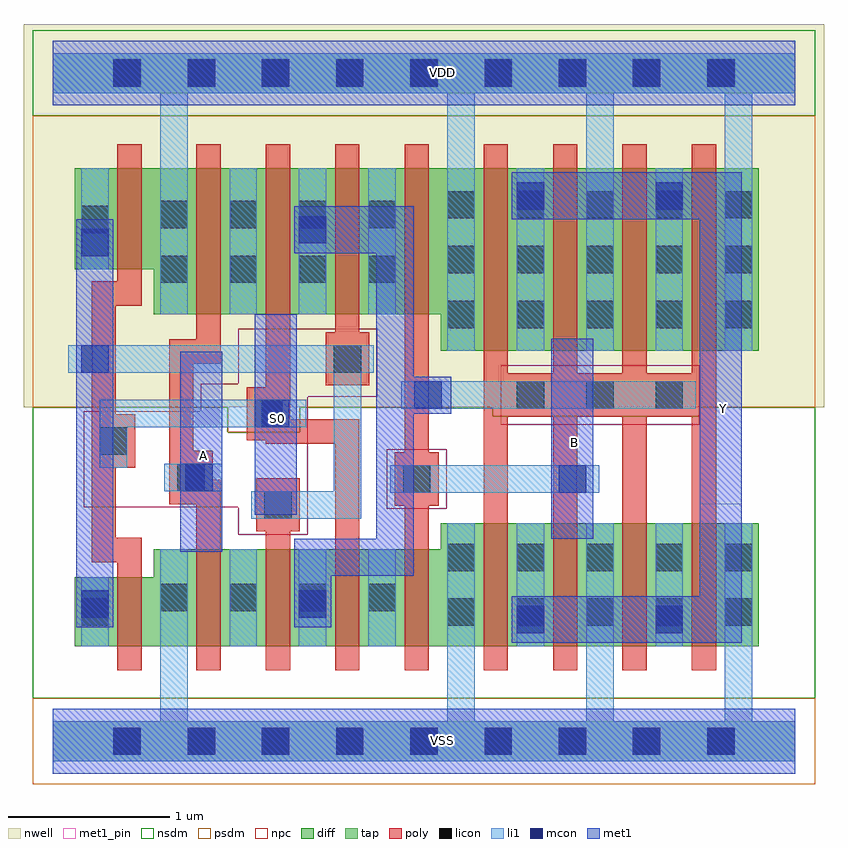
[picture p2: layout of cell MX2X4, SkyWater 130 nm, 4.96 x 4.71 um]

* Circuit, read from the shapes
.subckt MX2X4 A B S0 VDD VSS Y
XM1 VSS S0 n1 VSS sky130_fd_pr__nfet_01v8 w=0.425 l=0.15
XM2 n2 A VSS VSS sky130_fd_pr__nfet_01v8 w=0.6 l=0.15
XM3 n3 n1 n2 VSS sky130_fd_pr__nfet_01v8 w=0.6 l=0.15
XM4 n4 S0 n3 VSS sky130_fd_pr__nfet_01v8 w=0.6 l=0.15
XM5 VSS B n4 VSS sky130_fd_pr__nfet_01v8 w=0.6 l=0.15
XM6 Y n3 VSS VSS sky130_fd_pr__nfet_01v8 w=0.76 l=0.15 m=4
XM7 VDD S0 n1 VDD sky130_fd_pr__pfet_01v8 w=0.625 l=0.15
XM8 n5 A VDD VDD sky130_fd_pr__pfet_01v8 w=0.905 l=0.15
XM9 n3 S0 n5 VDD sky130_fd_pr__pfet_01v8 w=0.905 l=0.15
XM10 n6 n1 n3 VDD sky130_fd_pr__pfet_01v8 w=0.905 l=0.15
XM11 VDD B n6 VDD sky130_fd_pr__pfet_01v8 w=0.905 l=0.15
XM12 Y n3 VDD VDD sky130_fd_pr__pfet_01v8 w=1.13 l=0.15 m=4
.ends

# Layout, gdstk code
from math import pi, radians
import gdstk
lib = gdstk.Library(unit=1e-6, precision=1e-09)
def R(c, l, rs):  # rectangles x0, y0, x1, y1
    for r in rs: c.add(gdstk.rectangle(r[:2], r[2:], *l))
def A(c, l, x, y, w, h, nx, ny, dx, dy):  # array of equal rectangles
    R(c, l, [(x+i*dx, y+j*dy, x+i*dx+w, y+j*dy+h) for i in range(nx) for j in range(ny)])
def P(c, l, *ps):  # polygons
    for p in ps: c.add(gdstk.Polygon(p, *l))
nwell = (64, 20)
diff = (65, 20)
tap = (65, 44)
poly = (66, 20)
licon = (66, 44)
li1 = (67, 20)
mcon = (67, 44)
met1_pin = (68, 16)
met1 = (68, 20)
nsdm = (93, 44)
psdm = (94, 20)
npc = (95, 20)

pfet_01v8_cdns_716492285 = lib.new_cell('pfet_01v8_CDNS_71649228522173')
R(pfet_01v8_cdns_716492285, nwell, [(-0.235,-0.18,0.555,1.085)])
R(pfet_01v8_cdns_716492285, diff, [(-0.055,0,0,0.905), (0,0,0.15,0.905), (0.15,0,0.375,0.905)])
R(pfet_01v8_cdns_716492285, poly, [(0,-0.15,0.15,-0.095), (0,-0.095,0.15,0), (0,0,0.15,0.905), (0,0.905,0.15,1), (0,1,0.15,1.055)])
R(pfet_01v8_cdns_716492285, licon, [(0.205,0.195,0.375,0.365), (0.205,0.535,0.375,0.705)])
R(pfet_01v8_cdns_716492285, li1, [(0.205,0,0.375,0.905)])
R(pfet_01v8_cdns_716492285, psdm, [(-0.065,-0.13,0.385,1.035)])

nfet_01v8_cdns_716492285 = lib.new_cell('nfet_01v8_CDNS_71649228522174')
R(nfet_01v8_cdns_716492285, diff, [(-0.075,0,0,0.6), (0,0,0.15,0.6), (0.15,0,0.205,0.6)])
R(nfet_01v8_cdns_716492285, poly, [(0,-0.15,0.15,-0.095), (0,-0.095,0.15,0), (0,0,0.15,0.6), (0,0.6,0.15,0.695), (0,0.695,0.15,0.75)])
R(nfet_01v8_cdns_716492285, nsdm, [(0.045,-0.13,0.215,0.73)])

c_pfet_01v8_cdns_716492285 = lib.new_cell('pfet_01v8_CDNS_71649228522175')
R(c_pfet_01v8_cdns_716492285, nwell, [(-0.405,-0.18,0.385,1.085)])
R(c_pfet_01v8_cdns_716492285, diff, [(-0.225,0,0,0.905), (0,0,0.15,0.905), (0.15,0,0.205,0.905)])
R(c_pfet_01v8_cdns_716492285, poly, [(0,-0.15,0.15,-0.095), (0,-0.095,0.15,0), (0,0,0.15,0.905), (0,0.905,0.15,1), (0,1,0.15,1.055)])
R(c_pfet_01v8_cdns_716492285, psdm, [(-0.235,-0.13,0.215,1.035)])

c_nfet_01v8_cdns_716492285 = lib.new_cell('nfet_01v8_CDNS_71649228522176')
R(c_nfet_01v8_cdns_716492285, diff, [(-0.265,0,0,0.6), (0,0,0.15,0.6), (0.15,0,0.205,0.6)])
R(c_nfet_01v8_cdns_716492285, poly, [(0,-0.15,0.15,-0.095), (0,-0.095,0.15,0), (0,0,0.15,0.6), (0,0.6,0.15,0.695), (0,0.695,0.15,0.75)])
R(c_nfet_01v8_cdns_716492285, licon, [(-0.225,0.215,-0.055,0.385)])
R(c_nfet_01v8_cdns_716492285, li1, [(-0.225,0,-0.055,0.6)])
R(c_nfet_01v8_cdns_716492285, nsdm, [(-0.405,-0.13,0.215,0.73)])

c_nfet_01v8_cdns_716492285_ = lib.new_cell('nfet_01v8_CDNS_71649228522177')
R(c_nfet_01v8_cdns_716492285_, diff, [(-0.225,0,0,0.6), (0,0,0.15,0.6), (0.15,0,0.205,0.6)])
R(c_nfet_01v8_cdns_716492285_, poly, [(0,-0.15,0.15,-0.095), (0,-0.095,0.15,0), (0,0,0.15,0.6), (0,0.6,0.15,0.695), (0,0.695,0.15,0.75)])
R(c_nfet_01v8_cdns_716492285_, nsdm, [(-0.235,-0.13,0.215,0.73)])

c_pfet_01v8_cdns_716492285_ = lib.new_cell('pfet_01v8_CDNS_71649228522178')
R(c_pfet_01v8_cdns_716492285_, nwell, [(-0.445,-0.18,0.555,1.085)])
R(c_pfet_01v8_cdns_716492285_, diff, [(-0.265,0,0,0.905), (0,0,0.15,0.905), (0.15,0,0.375,0.905)])
R(c_pfet_01v8_cdns_716492285_, poly, [(0,-0.15,0.15,-0.095), (0,-0.095,0.15,0), (0,0,0.15,0.905), (0,0.905,0.15,1), (0,1,0.15,1.055)])
R(c_pfet_01v8_cdns_716492285_, licon, [(-0.225,0.195,-0.055,0.365), (-0.225,0.535,-0.055,0.705)])
R(c_pfet_01v8_cdns_716492285_, li1, [(-0.225,0,-0.055,0.905)])
R(c_pfet_01v8_cdns_716492285_, psdm, [(-0.405,-0.13,0.385,1.035)])

c_pfet_01v8_cdns_716492285__ = lib.new_cell('pfet_01v8_CDNS_71649228522179')
R(c_pfet_01v8_cdns_716492285__, nwell, [(-0.445,-0.18,1.885,1.31)])
A(c_pfet_01v8_cdns_716492285__, diff, 0, 0, 0.15, 1.13, 4, 1, 0.43, 0)
A(c_pfet_01v8_cdns_716492285__, diff, 0.15, 0, 0.28, 1.13, 3, 1, 0.43, 0)
R(c_pfet_01v8_cdns_716492285__, diff, [(-0.265,0,0,1.13), (1.44,0,1.705,1.13)])
A(c_pfet_01v8_cdns_716492285__, poly, 0, -0.15, 0.15, 0.055, 4, 2, 0.43, 1.375)
A(c_pfet_01v8_cdns_716492285__, poly, 0, -0.095, 0.15, 0.095, 4, 2, 0.43, 1.225)
A(c_pfet_01v8_cdns_716492285__, poly, 0, 0, 0.15, 1.13, 4, 1, 0.43, 0)
A(c_pfet_01v8_cdns_716492285__, licon, -0.225, 0.14, 0.17, 0.17, 5, 3, 0.43, 0.34)
A(c_pfet_01v8_cdns_716492285__, li1, -0.225, 0, 0.17, 1.13, 5, 1, 0.43, 0)
R(c_pfet_01v8_cdns_716492285__, psdm, [(-0.405,-0.13,1.845,1.26)])

c_pfet_01v8_cdns_716492285___ = lib.new_cell('pfet_01v8_CDNS_7164922852262')
R(c_pfet_01v8_cdns_716492285___, nwell, [(-0.255,-0.18,0.595,0.805)])
R(c_pfet_01v8_cdns_716492285___, diff, [(-0.075,0,0,0.625), (0,0,0.15,0.625), (0.15,0,0.415,0.625)])
R(c_pfet_01v8_cdns_716492285___, poly, [(0,-0.15,0.15,-0.095), (0,-0.095,0.15,0), (0,0,0.15,0.625), (0,0.625,0.15,0.72), (0,0.72,0.15,0.775)])
R(c_pfet_01v8_cdns_716492285___, licon, [(0.205,0.225,0.375,0.395)])
R(c_pfet_01v8_cdns_716492285___, li1, [(0.205,0,0.375,0.625)])
R(c_pfet_01v8_cdns_716492285___, psdm, [(0.045,-0.13,0.555,0.755)])

c_pfet_01v8_cdns_716492285____ = lib.new_cell('pfet_01v8_CDNS_71649228522180')
R(c_pfet_01v8_cdns_716492285____, nwell, [(-0.255,-0.18,0.385,1.085)])
R(c_pfet_01v8_cdns_716492285____, diff, [(-0.075,0,0,0.905), (0,0,0.15,0.905), (0.15,0,0.205,0.905)])
R(c_pfet_01v8_cdns_716492285____, poly, [(0,-0.15,0.15,-0.095), (0,-0.095,0.15,0), (0,0,0.15,0.905), (0,0.905,0.15,1), (0,1,0.15,1.055)])
R(c_pfet_01v8_cdns_716492285____, psdm, [(0.045,-0.13,0.215,1.035)])

c_nfet_01v8_cdns_716492285__ = lib.new_cell('nfet_01v8_CDNS_71649228522181')
A(c_nfet_01v8_cdns_716492285__, diff, 0, 0, 0.15, 0.76, 4, 1, 0.43, 0)
A(c_nfet_01v8_cdns_716492285__, diff, 0.15, 0, 0.28, 0.76, 3, 1, 0.43, 0)
R(c_nfet_01v8_cdns_716492285__, diff, [(-0.265,0,0,0.76), (1.44,0,1.705,0.76)])
A(c_nfet_01v8_cdns_716492285__, poly, 0, -0.15, 0.15, 0.055, 4, 2, 0.43, 1.005)
A(c_nfet_01v8_cdns_716492285__, poly, 0, -0.095, 0.15, 0.095, 4, 2, 0.43, 0.855)
A(c_nfet_01v8_cdns_716492285__, poly, 0, 0, 0.15, 0.76, 4, 1, 0.43, 0)
A(c_nfet_01v8_cdns_716492285__, licon, -0.225, 0.125, 0.17, 0.17, 5, 2, 0.43, 0.34)
A(c_nfet_01v8_cdns_716492285__, li1, -0.225, 0, 0.17, 0.76, 5, 1, 0.43, 0)
R(c_nfet_01v8_cdns_716492285__, nsdm, [(-0.405,-0.13,1.845,0.89)])

c_nfet_01v8_cdns_716492285___ = lib.new_cell('nfet_01v8_CDNS_7164922852265')
R(c_nfet_01v8_cdns_716492285___, diff, [(-0.075,0,0,0.425), (0,0,0.15,0.425), (0.15,0,0.415,0.425)])
R(c_nfet_01v8_cdns_716492285___, poly, [(0,-0.15,0.15,-0.095), (0,-0.095,0.15,0), (0,0,0.15,0.425), (0,0.425,0.15,0.52), (0,0.52,0.15,0.575)])
R(c_nfet_01v8_cdns_716492285___, licon, [(0.205,0.125,0.375,0.295)])
R(c_nfet_01v8_cdns_716492285___, li1, [(0.205,0,0.375,0.425)])
R(c_nfet_01v8_cdns_716492285___, nsdm, [(0.045,-0.13,0.555,0.555)])

c_nfet_01v8_cdns_716492285____ = lib.new_cell('nfet_01v8_CDNS_71649228522182')
R(c_nfet_01v8_cdns_716492285____, diff, [(-0.225,0,0,0.6), (0,0,0.15,0.6), (0.15,0,0.375,0.6)])
R(c_nfet_01v8_cdns_716492285____, poly, [(0,-0.15,0.15,-0.095), (0,-0.095,0.15,0), (0,0,0.15,0.6), (0,0.6,0.15,0.695), (0,0.695,0.15,0.75)])
R(c_nfet_01v8_cdns_716492285____, licon, [(0.205,0.215,0.375,0.385)])
R(c_nfet_01v8_cdns_716492285____, li1, [(0.205,0,0.375,0.6)])
R(c_nfet_01v8_cdns_716492285____, nsdm, [(-0.235,-0.13,0.385,0.73)])

pyl1con_c_cdns_716492285 = lib.new_cell('PYL1CON_C_CDNS_716492285220')
R(pyl1con_c_cdns_716492285, poly, [(-0.135,-0.165,0.135,0.165)])
R(pyl1con_c_cdns_716492285, licon, [(-0.085,-0.085,0.085,0.085)])
R(pyl1con_c_cdns_716492285, npc, [(-0.185,-0.185,0.185,0.185)])

l1m1_c_cdns_716492285222 = lib.new_cell('L1M1_C_CDNS_716492285222')
R(l1m1_c_cdns_716492285222, li1, [(-0.085,-0.165,0.085,0.165)])
R(l1m1_c_cdns_716492285222, mcon, [(-0.085,-0.085,0.085,0.085)])
R(l1m1_c_cdns_716492285222, met1, [(-0.115,-0.145,0.115,0.145)])

l1m1_c_cdns_716492285226 = lib.new_cell('L1M1_C_CDNS_716492285226')
R(l1m1_c_cdns_716492285226, li1, [(-0.085,-0.165,0.085,0.165)])
R(l1m1_c_cdns_716492285226, mcon, [(-0.085,-0.085,0.085,0.085)])
R(l1m1_c_cdns_716492285226, met1, [(-0.145,-0.115,0.145,0.115)])

l1m1_c_cdns_716492285223 = lib.new_cell('L1M1_C_CDNS_7164922852232')
R(l1m1_c_cdns_716492285223, li1, [(-0.165,-0.085,0.145,0.085)])
R(l1m1_c_cdns_716492285223, mcon, [(-0.085,-0.085,0.085,0.085)])
R(l1m1_c_cdns_716492285223, met1, [(-0.115,-0.145,0.115,0.145)])

c_l1m1_c_cdns_716492285223 = lib.new_cell('L1M1_C_CDNS_716492285223')
R(c_l1m1_c_cdns_716492285223, li1, [(-0.165,-0.085,0.165,0.085)])
R(c_l1m1_c_cdns_716492285223, mcon, [(-0.085,-0.085,0.085,0.085)])
R(c_l1m1_c_cdns_716492285223, met1, [(-0.115,-0.145,0.115,0.145)])

licondiff_c_cdns_7164922 = lib.new_cell('LICONDIFF_C_CDNS_7164922852213')
R(licondiff_c_cdns_7164922, diff, [(-0.125,-0.145,0.125,0.145)])
R(licondiff_c_cdns_7164922, licon, [(-0.085,-0.085,0.085,0.085), (-0.085,-0.085,0.085,0.085)])

mx2x4 = lib.new_cell('MX2X4')
R(mx2x4, nwell, [(-0.18,2.07,4.78,4.305), (-0.18,3.875,4.78,4.445)])
A(mx2x4, licon, 0.375, -0.085, 0.17, 0.17, 9, 2, 0.46, 4.14)
A(mx2x4, mcon, 0.375, -0.085, 0.17, 0.17, 9, 2, 0.46, 4.14)
R(mx2x4, met1_pin, [(0.79,1.175,1.05,2.415), (3.09,1.255,3.35,2.495), (1.25,1.405,1.51,2.645), (4.01,1.47,4.27,2.71)])
R(mx2x4, nsdm, [(-0.125,3.875,4.725,4.405), (-0.125,3.93,4.725,4.35)])
P(mx2x4, nsdm, [(4.725,2.07),(4.01,2.07),(4.01,2.015),(2.725,2.015),(2.725,2.07),(1.53,2.07),(1.53,1.915),(1.085,1.915),(1.085,2.07),(-0.125,2.07),(-0.125,0.265),(4.725,0.265)])
R(mx2x4, psdm, [(-0.125,-0.265,4.725,0.265), (-0.125,-0.21,4.725,0.21)])
P(mx2x4, psdm, [(4.725,3.875),(-0.125,3.875),(-0.125,2.07),(1.085,2.07),(1.085,1.915),(1.53,1.915),(1.53,2.07),(2.725,2.07),(2.725,2.015),(4.01,2.015),(4.01,2.07),(4.725,2.07)])
R(mx2x4, npc, [(1.15,1.28,1.58,2.215), (0.19,1.45,0.915,2.045), (0.915,1.45,1.21,2.215), (2.775,1.96,4.005,2.33), (1.15,2.135,2.01,2.555)])
mx2x4.add(gdstk.FlexPath([(2.44,2.145),(3.985,2.145)], 0.17, ends="flush", simple_path=True, layer=67, datatype=20))  # li1
mx2x4.add(gdstk.FlexPath([(0.095,2.37),(1.91,2.37)], 0.17, ends="flush", simple_path=True, layer=67, datatype=20))  # li1
mx2x4.add(gdstk.FlexPath([(1.825,1.38),(1.825,2.455)], 0.17, ends="flush", simple_path=True, layer=67, datatype=20))  # li1
mx2x4.add(gdstk.FlexPath([(2.235,1.625),(2.09,1.625)], 0.17, ends=(0.085, 0), simple_path=True, layer=67, datatype=20))  # li1
mx2x4.add(gdstk.FlexPath([(0.765,1.635),(1.05,1.635)], 0.17, ends=(0.075, 0), simple_path=True, layer=67, datatype=20))  # li1
mx2x4.add(gdstk.FlexPath([(2.04,2.645),(2.04,3.55)], 0.17, ends="flush", simple_path=True, layer=67, datatype=20))  # li1
mx2x4.add(gdstk.FlexPath([(1.805,2.37),(1.66,2.37)], 0.17, ends=(0.085, 0), simple_path=True, layer=67, datatype=20))  # li1
mx2x4.add(gdstk.FlexPath([(2.655,1.625),(2.235,1.625)], 0.17, ends=(0, 0.085), simple_path=True, layer=67, datatype=20))  # li1
mx2x4.add(gdstk.FlexPath([(1.91,1.465),(1.23,1.465)], 0.17, ends="flush", simple_path=True, layer=67, datatype=20))  # li1
mx2x4.add(gdstk.FlexPath([(1.18,0.59),(1.18,1.19)], 0.17, ends="flush", simple_path=True, layer=67, datatype=20))  # li1
mx2x4.add(gdstk.FlexPath([(1.57,2.03),(0.29,2.03)], 0.17, ends="flush", simple_path=True, layer=67, datatype=20))  # li1
mx2x4.add(gdstk.FlexPath([(1.99,2.37),(1.805,2.37)], 0.17, ends=(0, 0.085), simple_path=True, layer=67, datatype=20))  # li1
mx2x4.add(gdstk.FlexPath([(3.22,1.625),(2.655,1.625)], 0.17, ends="flush", simple_path=True, layer=67, datatype=20))  # li1
mx2x4.add(gdstk.FlexPath([(1.18,2.645),(1.18,3.55)], 0.17, ends="flush", simple_path=True, layer=67, datatype=20))  # li1
mx2x4.add(gdstk.FlexPath([(0.375,1.695),(0.375,2.115)], 0.17, ends="flush", simple_path=True, layer=67, datatype=20))  # li1
mx2x4.add(gdstk.FlexPath([(2.04,0.59),(2.04,1.19)], 0.17, ends="flush", simple_path=True, layer=67, datatype=20))  # li1
mx2x4.add(gdstk.FlexPath([(4.34,0),(4.6,0)], 0.25, ends=(0.085, 0), simple_path=True, layer=67, datatype=20))  # li1
mx2x4.add(gdstk.FlexPath([(0.69,0),(2.47,0)], 0.25, ends=(0.085, 0.085), simple_path=True, layer=67, datatype=20))  # li1
mx2x4.add(gdstk.FlexPath([(3.42,0),(4.34,0)], 0.25, ends=(0.085, 0.085), simple_path=True, layer=67, datatype=20))  # li1
mx2x4.add(gdstk.FlexPath([(0,0),(0.69,0)], 0.25, ends=(0, 0.085), simple_path=True, layer=67, datatype=20))  # li1
mx2x4.add(gdstk.FlexPath([(2.47,0),(3.42,0)], 0.25, ends=(0.085, 0.085), simple_path=True, layer=67, datatype=20))  # li1
mx2x4.add(gdstk.FlexPath([(2.53,3.55),(2.53,4.265)], 0.17, ends="flush", simple_path=True, layer=67, datatype=20))  # li1
mx2x4.add(gdstk.FlexPath([(4.25,-0.125),(4.25,0.59)], 0.17, ends="flush", simple_path=True, layer=67, datatype=20))  # li1
mx2x4.add(gdstk.FlexPath([(0.75,-0.125),(0.75,0.59)], 0.17, ends="flush", simple_path=True, layer=67, datatype=20))  # li1
mx2x4.add(gdstk.FlexPath([(2.53,-0.125),(2.53,0.59)], 0.17, ends="flush", simple_path=True, layer=67, datatype=20))  # li1
mx2x4.add(gdstk.FlexPath([(0.75,3.55),(0.75,4.265)], 0.17, ends="flush", simple_path=True, layer=67, datatype=20))  # li1
mx2x4.add(gdstk.FlexPath([(4.25,3.55),(4.25,4.265)], 0.17, ends="flush", simple_path=True, layer=67, datatype=20))  # li1
mx2x4.add(gdstk.FlexPath([(4.34,4.14),(4.6,4.14)], 0.25, ends=(0.085, 0), simple_path=True, layer=67, datatype=20))  # li1
mx2x4.add(gdstk.FlexPath([(0.69,4.14),(2.47,4.14)], 0.25, ends=(0.085, 0.085), simple_path=True, layer=67, datatype=20))  # li1
mx2x4.add(gdstk.FlexPath([(3.42,4.14),(4.34,4.14)], 0.25, ends=(0.085, 0.085), simple_path=True, layer=67, datatype=20))  # li1
mx2x4.add(gdstk.FlexPath([(3.39,3.55),(3.39,4.265)], 0.17, ends="flush", simple_path=True, layer=67, datatype=20))  # li1
mx2x4.add(gdstk.FlexPath([(3.39,-0.125),(3.39,0.59)], 0.17, ends="flush", simple_path=True, layer=67, datatype=20))  # li1
mx2x4.add(gdstk.FlexPath([(0,4.14),(0.69,4.14)], 0.25, ends=(0, 0.085), simple_path=True, layer=67, datatype=20))  # li1
mx2x4.add(gdstk.FlexPath([(2.47,4.14),(3.42,4.14)], 0.25, ends=(0.085, 0.085), simple_path=True, layer=67, datatype=20))  # li1
mx2x4.add(gdstk.FlexPath([(3.605,2.42),(3.605,1.35)], 0.15, ends="flush", simple_path=True, layer=66, datatype=20))  # poly
mx2x4.add(gdstk.FlexPath([(1.395,2.645),(1.395,1.845)], 0.15, ends="flush", simple_path=True, layer=66, datatype=20))  # poly
mx2x4.add(gdstk.FlexPath([(0.795,2.49),(0.795,1.47)], 0.15, ends="flush", simple_path=True, layer=66, datatype=20))  # poly
mx2x4.add(gdstk.FlexPath([(3.175,2.42),(3.175,1.35)], 0.15, ends="flush", simple_path=True, layer=66, datatype=20))  # poly
mx2x4.add(gdstk.FlexPath([(0.24,2.775),(0.55,2.775)], 0.15, ends="flush", simple_path=True, layer=66, datatype=20))  # poly
mx2x4.add(gdstk.FlexPath([(0.72,1.545),(1.04,1.545)], 0.15, ends="flush", simple_path=True, layer=66, datatype=20))  # poly
mx2x4.add(gdstk.FlexPath([(2.745,2.42),(2.745,1.35)], 0.15, ends="flush", simple_path=True, layer=66, datatype=20))  # poly
mx2x4.add(gdstk.FlexPath([(0.315,2.85),(0.315,1.11)], 0.15, ends="flush", simple_path=True, layer=66, datatype=20))  # poly
mx2x4.add(gdstk.FlexPath([(1.825,1.19),(1.825,1.995)], 0.15, ends="flush", simple_path=True, layer=66, datatype=20))  # poly
mx2x4.add(gdstk.FlexPath([(0.72,2.415),(1.04,2.415)], 0.15, ends="flush", simple_path=True, layer=66, datatype=20))  # poly
mx2x4.add(gdstk.FlexPath([(0.965,2.645),(0.965,2.34)], 0.15, ends="flush", simple_path=True, layer=66, datatype=20))  # poly
mx2x4.add(gdstk.FlexPath([(2.255,2.645),(2.255,1.19)], 0.15, ends="flush", simple_path=True, layer=66, datatype=20))  # poly
mx2x4.add(gdstk.FlexPath([(4.035,2.42),(4.035,1.35)], 0.15, ends="flush", simple_path=True, layer=66, datatype=20))  # poly
mx2x4.add(gdstk.FlexPath([(1.9,1.92),(1.32,1.92)], 0.15, ends="flush", simple_path=True, layer=66, datatype=20))  # poly
mx2x4.add(gdstk.FlexPath([(1.395,1.19),(1.395,1.63)], 0.15, ends="flush", simple_path=True, layer=66, datatype=20))  # poly
mx2x4.add(gdstk.FlexPath([(0.24,1.185),(0.55,1.185)], 0.15, ends="flush", simple_path=True, layer=66, datatype=20))  # poly
mx2x4.add(gdstk.FlexPath([(0.965,1.62),(0.965,1.19)], 0.15, ends="flush", simple_path=True, layer=66, datatype=20))  # poly
mx2x4.add(gdstk.FlexPath([(0,4.14),(4.6,4.14)], 0.25, ends="flush", simple_path=True, layer=65, datatype=44))  # tap
mx2x4.add(gdstk.FlexPath([(0,0),(4.6,0)], 0.25, ends="flush", simple_path=True, layer=65, datatype=44))  # tap
mx2x4.add(gdstk.FlexPath([(1.61,0.705),(1.61,1.255)], 0.23, ends="flush", simple_path=True, layer=68, datatype=20))  # met1
mx2x4.add(gdstk.FlexPath([(1.495,1.14),(2.235,1.14)], 0.23, ends="flush", simple_path=True, layer=68, datatype=20))  # met1
mx2x4.add(gdstk.FlexPath([(2.96,0.755),(3.82,0.755)], 0.29, ends="flush", simple_path=True, layer=68, datatype=20))  # met1
mx2x4.add(gdstk.FlexPath([(1.495,3.17),(2.235,3.17)], 0.29, ends="flush", simple_path=True, layer=68, datatype=20))  # met1
mx2x4.add(gdstk.FlexPath([(2.12,1.025),(2.12,3.025)], 0.23, ends="flush", simple_path=True, layer=68, datatype=20))  # met1
mx2x4.add(gdstk.FlexPath([(0.26,0.705),(0.26,3.235)], 0.23, ends="flush", simple_path=True, layer=68, datatype=20))  # met1
mx2x4.add(gdstk.FlexPath([(3.82,3.38),(4.14,3.38)], 0.29, ends="flush", simple_path=True, layer=68, datatype=20))  # met1
mx2x4.add(gdstk.FlexPath([(3.82,0.755),(4.14,0.755)], 0.29, ends="flush", simple_path=True, layer=68, datatype=20))  # met1
mx2x4.add(gdstk.FlexPath([(0.92,1.175),(0.92,2.415)], 0.26, ends="flush", simple_path=True, layer=68, datatype=20))  # met1
mx2x4.add(gdstk.FlexPath([(1.38,1.405),(1.38,2.645)], 0.26, ends="flush", simple_path=True, layer=68, datatype=20))  # met1
mx2x4.add(gdstk.FlexPath([(2.96,3.38),(3.82,3.38)], 0.29, ends="flush", simple_path=True, layer=68, datatype=20))  # met1
mx2x4.add(gdstk.FlexPath([(3.22,1.255),(3.22,2.495)], 0.26, ends="flush", simple_path=True, layer=68, datatype=20))  # met1
mx2x4.add(gdstk.FlexPath([(4.14,3.525),(4.14,0.61)], 0.26, ends="flush", simple_path=True, layer=68, datatype=20))  # met1
mx2x4.add(gdstk.FlexPath([(0,4.14),(4.6,4.14)], 0.4, ends="flush", simple_path=True, layer=68, datatype=20))  # met1
mx2x4.add(gdstk.FlexPath([(0,0),(4.6,0)], 0.4, ends="flush", simple_path=True, layer=68, datatype=20))  # met1
mx2x4.add(gdstk.FlexPath([(0,4.14),(4.6,4.14)], 0.4, ends="flush", simple_path=True, layer=68, datatype=16))  # met1_pin
mx2x4.add(gdstk.FlexPath([(0,0),(4.6,0)], 0.4, ends="flush", simple_path=True, layer=68, datatype=16))  # met1_pin
mx2x4.add(gdstk.Reference(pfet_01v8_cdns_716492285, (1.32,2.645)))
mx2x4.add(gdstk.Reference(nfet_01v8_cdns_716492285, (2.33,0.59), rotation=pi, x_reflection=True))
mx2x4.add(gdstk.Reference(c_pfet_01v8_cdns_716492285, (1.9,2.645), rotation=pi, x_reflection=True))
mx2x4.add(gdstk.Reference(c_nfet_01v8_cdns_716492285, (0.89,0.59)))
mx2x4.add(gdstk.Reference(c_nfet_01v8_cdns_716492285_, (1.9,0.59), rotation=pi, x_reflection=True))
mx2x4.add(gdstk.Reference(c_pfet_01v8_cdns_716492285_, (0.89,2.645)))
mx2x4.add(gdstk.Reference(c_pfet_01v8_cdns_716492285__, (2.67,2.42)))
mx2x4.add(gdstk.Reference(c_pfet_01v8_cdns_716492285___, (0.55,2.925), rotation=pi, x_reflection=True))
mx2x4.add(gdstk.Reference(c_pfet_01v8_cdns_716492285____, (2.33,2.645), rotation=pi, x_reflection=True))
mx2x4.add(gdstk.Reference(c_nfet_01v8_cdns_716492285__, (2.67,0.59)))
mx2x4.add(gdstk.Reference(c_nfet_01v8_cdns_716492285___, (0.55,0.59), rotation=pi, x_reflection=True))
mx2x4.add(gdstk.Reference(c_nfet_01v8_cdns_716492285____, (1.32,0.59)))
mx2x4.add(gdstk.Reference(pyl1con_c_cdns_716492285, (0.855,1.635), x_reflection=True))
mx2x4.add(gdstk.Reference(pyl1con_c_cdns_716492285, (1.335,2.03), x_reflection=True))
mx2x4.add(gdstk.Reference(pyl1con_c_cdns_716492285, (0.375,1.86), x_reflection=True))
mx2x4.add(gdstk.Reference(pyl1con_c_cdns_716492285, (2.255,1.625), x_reflection=True))
mx2x4.add(gdstk.Reference(pyl1con_c_cdns_716492285, (2.96,2.145), rotation=3*pi/2))
mx2x4.add(gdstk.Reference(pyl1con_c_cdns_716492285, (1.825,2.37), x_reflection=True))
mx2x4.add(gdstk.Reference(pyl1con_c_cdns_716492285, (1.395,1.465)))
mx2x4.add(gdstk.Reference(pyl1con_c_cdns_716492285, (3.39,2.145), rotation=3*pi/2))
mx2x4.add(gdstk.Reference(pyl1con_c_cdns_716492285, (3.82,2.145), rotation=3*pi/2))
mx2x4.add(gdstk.Reference(l1m1_c_cdns_716492285222, (2.325,2.145), rotation=pi/2))
mx2x4.add(gdstk.Reference(l1m1_c_cdns_716492285222, (1.61,0.85)))
mx2x4.add(gdstk.Reference(l1m1_c_cdns_716492285222, (1.61,3.17)))
mx2x4.add(gdstk.Reference(l1m1_c_cdns_716492285222, (3.82,0.755)))
mx2x4.add(gdstk.Reference(l1m1_c_cdns_716492285222, (3.82,3.38)))
mx2x4.add(gdstk.Reference(l1m1_c_cdns_716492285222, (2.96,0.755)))
mx2x4.add(gdstk.Reference(l1m1_c_cdns_716492285222, (2.96,3.38)))
mx2x4.add(gdstk.Reference(l1m1_c_cdns_716492285222, (0.26,3.09)))
mx2x4.add(gdstk.Reference(l1m1_c_cdns_716492285222, (0.26,0.85)))
mx2x4.add(gdstk.Reference(l1m1_c_cdns_716492285226, (0.26,2.37), rotation=pi/2))
mx2x4.add(gdstk.Reference(l1m1_c_cdns_716492285223, (0.905,1.635), x_reflection=True))
mx2x4.add(gdstk.Reference(c_l1m1_c_cdns_716492285223, (1.38,2.03), x_reflection=True))
mx2x4.add(gdstk.Reference(c_l1m1_c_cdns_716492285223, (3.22,1.625), x_reflection=True))
mx2x4.add(gdstk.Reference(licondiff_c_cdns_7164922, (2.04,2.925)))
mx2x4.add(gdstk.Reference(licondiff_c_cdns_7164922, (1.18,2.925)))
mx2x4.add(gdstk.Reference(licondiff_c_cdns_7164922, (2.04,0.89)))
mx2x4.add(gdstk.Reference(licondiff_c_cdns_7164922, (2.04,3.265)))
mx2x4.add(gdstk.Reference(licondiff_c_cdns_7164922, (1.18,0.89)))
mx2x4.add(gdstk.Reference(licondiff_c_cdns_7164922, (1.18,3.265)))
mx2x4.add(gdstk.Label('VDD', (2.415,4.145), layer=68, texttype=5))
mx2x4.add(gdstk.Label('B', (3.235,1.85), layer=68, texttype=5))
mx2x4.add(gdstk.Label('A', (0.935,1.77), layer=68, texttype=5))
mx2x4.add(gdstk.Label('S0', (1.395,2), layer=68, texttype=5))
mx2x4.add(gdstk.Label('Y', (4.155,2.065), layer=68, texttype=5))
mx2x4.add(gdstk.Label('VSS', (2.415,0.005), layer=68, texttype=5))

lib.write_gds('MX2X4.gds')
